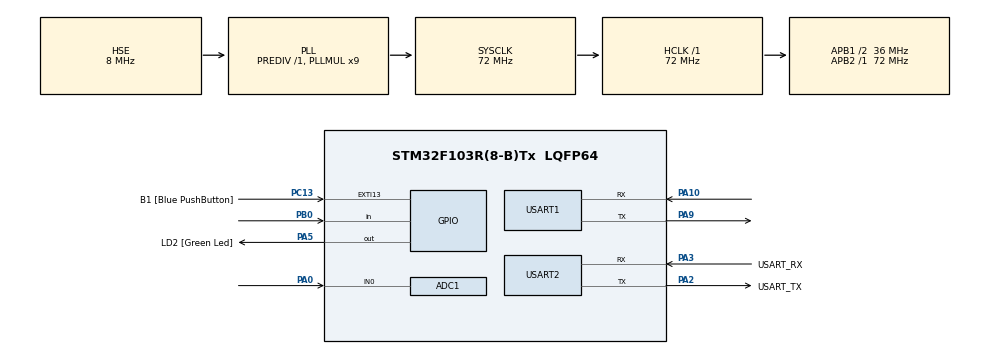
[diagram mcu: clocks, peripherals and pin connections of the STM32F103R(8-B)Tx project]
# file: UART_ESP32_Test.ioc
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ADC1.Channel-2\#ChannelRegularConversion=ADC_CHANNEL_0
ADC1.NbrOfConversion=1
ADC1.NbrOfConversionFlag=1
ADC1.Rank-2\#ChannelRegularConversion=1
ADC1.SamplingTime-2\#ChannelRegularConversion=ADC_SAMPLETIME_1CYCLE_5
ADC1.master=1
ADC2.Channel-1\#ChannelRegularConversion=ADC_CHANNEL_0
ADC2.NbrOfConversionFlag=1
ADC2.Rank-1\#ChannelRegularConversion=1
ADC2.SamplingTime-1\#ChannelRegularConversion=ADC_SAMPLETIME_1CYCLE_5
Mcu.Family=STM32F1
Mcu.Name=STM32F103R(8-B)Tx
Mcu.Package=LQFP64
NVIC.EXTI15_10_IRQn=true\:0\:0\:false\:false\:true\:true\:true\:true
NVIC.PriorityGroup=NVIC_PRIORITYGROUP_4
NVIC.USART1_IRQn=true\:0\:0\:false\:false\:true\:true\:true\:true
NVIC.USART2_IRQn=true\:0\:0\:false\:false\:true\:true\:true\:true
PA0-WKUP.Signal=ADCx_IN0
PA10.Mode=Asynchronous
PA10.Signal=USART1_RX
PA13.GPIO_Label=TMS
PA13.Mode=Serial_Wire
PA13.Signal=SYS_JTMS-SWDIO
PA14.GPIO_Label=TCK
PA14.Mode=Serial_Wire
PA14.Signal=SYS_JTCK-SWCLK
PA2.GPIO_Label=USART_TX
PA2.GPIO_Mode=GPIO_MODE_AF_PP
PA2.GPIO_PuPd=GPIO_NOPULL
PA2.GPIO_Speed=GPIO_SPEED_FREQ_LOW
PA2.Mode=Asynchronous
PA2.Signal=USART2_TX
PA3.GPIO_Label=USART_RX
PA3.GPIO_Mode=GPIO_MODE_AF_PP
PA3.GPIO_PuPd=GPIO_NOPULL
PA3.GPIO_Speed=GPIO_SPEED_FREQ_LOW
PA3.Mode=Asynchronous
PA3.Signal=USART2_RX
PA5.GPIO_Label=LD2 [Green Led]
PA5.GPIO_ModeDefaultOutputPP=GPIO_MODE_OUTPUT_PP
PA5.GPIO_PuPd=GPIO_NOPULL
PA5.GPIO_Speed=GPIO_SPEED_FREQ_LOW
PA5.Signal=GPIO_Output
PA9.Mode=Asynchronous
PA9.Signal=USART1_TX
PB0.Signal=GPIO_Input
PB3.GPIO_Label=SWO
PB3.Signal=SYS_JTDO-TRACESWO
PC13-TAMPER-RTC.GPIO_Label=B1 [Blue PushButton]
PC13-TAMPER-RTC.GPIO_PuPd=GPIO_NOPULL
PC13-TAMPER-RTC.Signal=GPXTI13
PC14-OSC32_IN.Mode=LSE-External-Oscillator
PC14-OSC32_IN.Signal=RCC_OSC32_IN
PC15-OSC32_OUT.Mode=LSE-External-Oscillator
PC15-OSC32_OUT.Signal=RCC_OSC32_OUT
PD0-OSC_IN.Mode=HSE-External-Clock-Source
PD0-OSC_IN.Signal=RCC_OSC_IN
PD1-OSC_OUT.Mode=HSE-External-Clock-Source
PD1-OSC_OUT.Signal=RCC_OSC_OUT
ProjectManager.HeapSize=0x200
ProjectManager.StackSize=0x400
ProjectManager.TargetToolchain=STM32CubeIDE
RCC.AHBFreq_Value=72000000
RCC.APB1CLKDivider=RCC_HCLK_DIV2
RCC.APB1Freq_Value=36000000
RCC.APB1TimFreq_Value=72000000
RCC.APB2Freq_Value=72000000
RCC.APB2TimFreq_Value=72000000
RCC.HCLKFreq_Value=72000000
RCC.PLLMUL=RCC_PLL_MUL9
RCC.PLLSourceVirtual=RCC_PLLSOURCE_HSE
RCC.RTCClockSelection=RCC_RTCCLKSOURCE_LSE
RCC.SYSCLKFreq_VALUE=72000000
RCC.SYSCLKSource=RCC_SYSCLKSOURCE_PLLCLK
RCC.USBFreq_Value=72000000
SH.ADCx_IN0.0=ADC1_IN0,IN0
SH.ADCx_IN0.1=ADC2_IN0,IN0
USART1.VirtualMode=VM_ASYNC
USART2.VirtualMode=VM_ASYNC
board=NUCLEO-F103RB

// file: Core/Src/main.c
/* USER CODE BEGIN Header */
/**
  ******************************************************************************
  * @file           : main.c
  * @brief          : Main program body
  ******************************************************************************
  * @attention
  *
  * Created for UART test between STM32F103RB and ESP32 (GPIO17/16)
  *
  ******************************************************************************
  */
/* USER CODE END Header */
#include "main.h"

/* USER CODE BEGIN Includes */
#include <string.h>
#include <stdio.h>
/* USER CODE END Includes */

ADC_HandleTypeDef hadc1;
ADC_HandleTypeDef hadc2;

UART_HandleTypeDef huart1;
UART_HandleTypeDef huart2;

/* USER CODE BEGIN PV */
extern UART_HandleTypeDef huart1;  // ESP32
extern UART_HandleTypeDef huart2;  // PC Log
extern ADC_HandleTypeDef hadc1;    // ADC1 (CubeMX가 선언함)

static uint8_t rx1;
static char line_buf[128];
static volatile uint16_t line_len = 0;
/* USER CODE END PV */

void SystemClock_Config(void);
static void MX_GPIO_Init(void);
static void MX_USART2_UART_Init(void);
static void MX_USART1_UART_Init(void);
static void MX_ADC1_Init(void);
static void MX_ADC2_Init(void);
/* USER CODE BEGIN PFP */
static void Uart1_RxStartIT(void);
static inline void DWT_Delay_Init(void);
static inline void delay_us(uint32_t us);
static void DHT_PinOutput(void);
static void DHT_PinInput(void);
static int  DHT11_Read(float *temp_c, float *rh);
static uint16_t ADC1_Read_PA0(void);
static uint16_t read_cds_avg(void);
/* USER CODE END PFP */

/* USER CODE BEGIN 0 */
// ---- UART1 Rx 인터럽트 재시작 ----
static void Uart1_RxStartIT(void) {
  HAL_UART_Receive_IT(&huart1, &rx1, 1);
}

// ---- μs Delay (DWT) ----
static inline void DWT_Delay_Init(void) {
  CoreDebug->DEMCR |= CoreDebug_DEMCR_TRCENA_Msk;
  DWT->CYCCNT = 0;
  DWT->CTRL  |= DWT_CTRL_CYCCNTENA_Msk;
}
static inline void delay_us(uint32_t us) {
  uint32_t cycles = (SystemCoreClock/1000000)*us;
  uint32_t start = DWT->CYCCNT;
  while ((DWT->CYCCNT - start) < cycles) { }
}

// ---- DHT11: PB0 사용 ----
#define DHT_PORT GPIOB
#define DHT_PIN  GPIO_PIN_0

static void DHT_PinOutput(void){
  GPIO_InitTypeDef GPIO_InitStruct = {0};
  GPIO_InitStruct.Pin   = DHT_PIN;
  GPIO_InitStruct.Mode  = GPIO_MODE_OUTPUT_PP;
  GPIO_InitStruct.Speed = GPIO_SPEED_FREQ_LOW;
  GPIO_InitStruct.Pull  = GPIO_NOPULL;
  HAL_GPIO_Init(DHT_PORT, &GPIO_InitStruct);
}
static void DHT_PinInput(void){
  GPIO_InitTypeDef GPIO_InitStruct = {0};
  GPIO_InitStruct.Pin  = DHT_PIN;
  GPIO_InitStruct.Mode = GPIO_MODE_INPUT;
  GPIO_InitStruct.Pull = GPIO_NOPULL; // 외부 풀업 사용
  HAL_GPIO_Init(DHT_PORT, &GPIO_InitStruct);
}

// 반환: 0=OK, 그 외=에러
static int DHT11_Read(float *temp_c, float *rh){
  uint8_t data[5] = {0};

  // Start signal
  DHT_PinOutput();
  HAL_GPIO_WritePin(DHT_PORT, DHT_PIN, GPIO_PIN_RESET);
  HAL_Delay(20); // 18~20ms
  HAL_GPIO_WritePin(DHT_PORT, DHT_PIN, GPIO_PIN_SET);
  delay_us(30);
  DHT_PinInput();

  // DHT 응답 Low(~80us)
  uint32_t t=0;
  while (HAL_GPIO_ReadPin(DHT_PORT, DHT_PIN)==GPIO_PIN_SET){ if(++t>10000) return -1; }
  // DHT 응답 High(~80us)
  t=0; while (HAL_GPIO_ReadPin(DHT_PORT, DHT_PIN)==GPIO_PIN_RESET){ if(++t>10000) return -2; }
  t=0; while (HAL_GPIO_ReadPin(DHT_PORT, DHT_PIN)==GPIO_PIN_SET)  { if(++t>10000) return -3; }

  // 40비트 수신 (delay 샘플링법)
  memset(data, 0, sizeof(data));
  for (int i=0;i<40;i++){
    // 50us Low
    t=0; while (HAL_GPIO_ReadPin(DHT_PORT, DHT_PIN)==GPIO_PIN_RESET){ if(++t>10000) return -4; }
    // 약 35us 후 레벨 샘플링
    delay_us(35);
    uint8_t bit = (HAL_GPIO_ReadPin(DHT_PORT, DHT_PIN)==GPIO_PIN_SET) ? 1 : 0;
    // High 떨어질 때까지 소비
    t=0; while (HAL_GPIO_ReadPin(DHT_PORT, DHT_PIN)==GPIO_PIN_SET){ if(++t>10000) break; }

    data[i/8] <<= 1;
    data[i/8] |= bit;
  }

  // 체크섬
  uint8_t sum = data[0]+data[1]+data[2]+data[3];
  if ((sum & 0xFF) != data[4]) return -7;

  *rh     = (float)data[0];  // DHT11은 정수부만 유효
  *temp_c = (float)data[2];
  return 0;
}

// ---- ADC(PA0 = ADC1_IN0) 읽기 ----
static uint16_t ADC1_Read_PA0(void){
  ADC_ChannelConfTypeDef sConfig = {0};
  sConfig.Channel      = ADC_CHANNEL_0; // PA0
  sConfig.Rank         = ADC_REGULAR_RANK_1;
  sConfig.SamplingTime = ADC_SAMPLETIME_239CYCLES_5;
  HAL_ADC_ConfigChannel(&hadc1, &sConfig);

  HAL_ADC_Start(&hadc1);
  HAL_ADC_PollForConversion(&hadc1, 10);
  uint16_t v = HAL_ADC_GetValue(&hadc1); // 0~4095
  HAL_ADC_Stop(&hadc1);
  return v;
}

// (옵션) 간단한 이동평균
static uint16_t read_cds_avg(void){
  uint32_t acc=0;
  for(int i=0;i<8;i++){ acc += ADC1_Read_PA0(); HAL_Delay(2); }
  return (uint16_t)(acc/8);
}

// ---- UART Rx 콜백 (네가 쓰던 라인버퍼 에코 유지) ----
void HAL_UART_RxCpltCallback(UART_HandleTypeDef *huart) {
  if (huart->Instance == USART1) {
    char c = (char)rx1;
    if (c == '\n' || c == '\r') {
      if (line_len > 0) {
        line_buf[line_len] = 0;
        const char *nl = "\r\n";
        const char *prefix = "RX:";
        HAL_UART_Transmit(&huart2, (uint8_t*)prefix, 3, HAL_MAX_DELAY);
        HAL_UART_Transmit(&huart2, (uint8_t*)line_buf, line_len, HAL_MAX_DELAY);
        HAL_UART_Transmit(&huart2, (uint8_t*)nl, 2, HAL_MAX_DELAY);

        const char *echo = "ECHO:";
        HAL_UART_Transmit(&huart1, (uint8_t*)echo, 5, HAL_MAX_DELAY);
        HAL_UART_Transmit(&huart1, (uint8_t*)line_buf, line_len, HAL_MAX_DELAY);
        HAL_UART_Transmit(&huart1, (uint8_t*)"\n", 1, HAL_MAX_DELAY);

        line_len = 0;
      }
    } else {
      if (line_len < sizeof(line_buf) - 1) line_buf[line_len++] = c;
      else line_len = 0;
    }
    Uart1_RxStartIT();
  }
}

/* USER CODE END 0 */

int main(void)
{

  /* MCU Configuration--------------------------------------------------------*/

  /* Reset of all peripherals, Initializes the Flash interface and the Systick. */
  HAL_Init();

  /* Configure the system clock */
  SystemClock_Config();

  /* Initialize all configured peripherals */
  MX_GPIO_Init();
  MX_USART2_UART_Init();
  MX_USART1_UART_Init();
  MX_ADC1_Init();
  MX_ADC2_Init();
  /* USER CODE BEGIN 2 */
  // ADC 보정 (F1 지원), μs 딜레이, 부팅 로그, UART1 수신 시작
  HAL_ADCEx_Calibration_Start(&hadc1);
  DWT_Delay_Init();

  const char *boot = "STM32 UART+Sensor ready\r\n";
  HAL_UART_Transmit(&huart2, (uint8_t*)boot, strlen(boot), HAL_MAX_DELAY);

  DHT_PinInput();     // 기본은 입력
  Uart1_RxStartIT();  // UART1 인터럽트 수신 시작
  /* USER CODE END 2 */

  /* Infinite loop */
  while (1)
  {
	  static uint32_t last = 0;
	  if (HAL_GetTick() - last >= 1000) {
	    last = HAL_GetTick();

	    float tC=0, RH=0;
	    int r = DHT11_Read(&tC, &RH);

	    // CDS 읽기 (평균 사용)
	    uint16_t adc = read_cds_avg(); // 또는 ADC1_Read_PA0();

	    char out[128];
	    int n=0;
	    if (r==0) {
	      n = snprintf(out, sizeof(out),
	        "{\"temp_c\":%.1f,\"rh_pct\":%.1f,\"cds_raw\":%u}\n", tC, RH, adc);
	    } else {
	      n = snprintf(out, sizeof(out),
	        "{\"temp_c\":-1,\"rh_pct\":-1,\"cds_raw\":%u,\"err\":%d}\n", adc, r);
	    }
	    HAL_UART_Transmit(&huart1, (uint8_t*)out, n, HAL_MAX_DELAY); // → ESP32
	    HAL_UART_Transmit(&huart2, (uint8_t*)out, n, HAL_MAX_DELAY); // PC 로그
	  }

  }
}

void SystemClock_Config(void)
{
  RCC_OscInitTypeDef RCC_OscInitStruct = {0};
  RCC_ClkInitTypeDef RCC_ClkInitStruct = {0};
  RCC_PeriphCLKInitTypeDef PeriphClkInit = {0};

  /** Initializes the RCC Oscillators according to the specified parameters
  * in the RCC_OscInitTypeDef structure.
  */
  RCC_OscInitStruct.OscillatorType = RCC_OSCILLATORTYPE_HSE;
  RCC_OscInitStruct.HSEState = RCC_HSE_BYPASS;
  RCC_OscInitStruct.HSEPredivValue = RCC_HSE_PREDIV_DIV1;
  RCC_OscInitStruct.HSIState = RCC_HSI_ON;
  RCC_OscInitStruct.PLL.PLLState = RCC_PLL_ON;
  RCC_OscInitStruct.PLL.PLLSource = RCC_PLLSOURCE_HSE;
  RCC_OscInitStruct.PLL.PLLMUL = RCC_PLL_MUL9;
  if (HAL_RCC_OscConfig(&RCC_OscInitStruct) != HAL_OK)
  {
    Error_Handler();
  }

  /** Initializes the CPU, AHB and APB buses clocks
  */
  RCC_ClkInitStruct.ClockType = RCC_CLOCKTYPE_HCLK|RCC_CLOCKTYPE_SYSCLK
                              |RCC_CLOCKTYPE_PCLK1|RCC_CLOCKTYPE_PCLK2;
  RCC_ClkInitStruct.SYSCLKSource = RCC_SYSCLKSOURCE_PLLCLK;
  RCC_ClkInitStruct.AHBCLKDivider = RCC_SYSCLK_DIV1;
  RCC_ClkInitStruct.APB1CLKDivider = RCC_HCLK_DIV2;
  RCC_ClkInitStruct.APB2CLKDivider = RCC_HCLK_DIV1;

  if (HAL_RCC_ClockConfig(&RCC_ClkInitStruct, FLASH_LATENCY_2) != HAL_OK)
  {
    Error_Handler();
  }
  PeriphClkInit.PeriphClockSelection = RCC_PERIPHCLK_ADC;
  PeriphClkInit.AdcClockSelection = RCC_ADCPCLK2_DIV2;
  if (HAL_RCCEx_PeriphCLKConfig(&PeriphClkInit) != HAL_OK)
  {
    Error_Handler();
  }
}

static void MX_ADC1_Init(void)
{

  ADC_ChannelConfTypeDef sConfig = {0};

  /** Common config
  */
  hadc1.Instance = ADC1;
  hadc1.Init.ScanConvMode = ADC_SCAN_DISABLE;
  hadc1.Init.ContinuousConvMode = DISABLE;
  hadc1.Init.DiscontinuousConvMode = DISABLE;
  hadc1.Init.ExternalTrigConv = ADC_SOFTWARE_START;
  hadc1.Init.DataAlign = ADC_DATAALIGN_RIGHT;
  hadc1.Init.NbrOfConversion = 1;
  if (HAL_ADC_Init(&hadc1) != HAL_OK)
  {
    Error_Handler();
  }

  /** Configure Regular Channel
  */
  sConfig.Channel = ADC_CHANNEL_0;
  sConfig.Rank = ADC_REGULAR_RANK_1;
  sConfig.SamplingTime = ADC_SAMPLETIME_1CYCLE_5;
  if (HAL_ADC_ConfigChannel(&hadc1, &sConfig) != HAL_OK)
  {
    Error_Handler();
  }

}

static void MX_ADC2_Init(void)
{

  ADC_ChannelConfTypeDef sConfig = {0};

  /** Common config
  */
  hadc2.Instance = ADC2;
  hadc2.Init.ScanConvMode = ADC_SCAN_DISABLE;
  hadc2.Init.ContinuousConvMode = DISABLE;
  hadc2.Init.DiscontinuousConvMode = DISABLE;
  hadc2.Init.ExternalTrigConv = ADC_SOFTWARE_START;
  hadc2.Init.DataAlign = ADC_DATAALIGN_RIGHT;
  hadc2.Init.NbrOfConversion = 1;
  if (HAL_ADC_Init(&hadc2) != HAL_OK)
  {
    Error_Handler();
  }

  /** Configure Regular Channel
  */
  sConfig.Channel = ADC_CHANNEL_0;
  sConfig.Rank = ADC_REGULAR_RANK_1;
  sConfig.SamplingTime = ADC_SAMPLETIME_1CYCLE_5;
  if (HAL_ADC_ConfigChannel(&hadc2, &sConfig) != HAL_OK)
  {
    Error_Handler();
  }

}

static void MX_USART1_UART_Init(void)
{

  huart1.Instance = USART1;
  huart1.Init.BaudRate = 115200;
  huart1.Init.WordLength = UART_WORDLENGTH_8B;
  huart1.Init.StopBits = UART_STOPBITS_1;
  huart1.Init.Parity = UART_PARITY_NONE;
  huart1.Init.Mode = UART_MODE_TX_RX;
  huart1.Init.HwFlowCtl = UART_HWCONTROL_NONE;
  huart1.Init.OverSampling = UART_OVERSAMPLING_16;
  if (HAL_UART_Init(&huart1) != HAL_OK)
  {
    Error_Handler();
  }

}

static void MX_USART2_UART_Init(void)
{

  huart2.Instance = USART2;
  huart2.Init.BaudRate = 115200;
  huart2.Init.WordLength = UART_WORDLENGTH_8B;
  huart2.Init.StopBits = UART_STOPBITS_1;
  huart2.Init.Parity = UART_PARITY_NONE;
  huart2.Init.Mode = UART_MODE_TX_RX;
  huart2.Init.HwFlowCtl = UART_HWCONTROL_NONE;
  huart2.Init.OverSampling = UART_OVERSAMPLING_16;
  if (HAL_UART_Init(&huart2) != HAL_OK)
  {
    Error_Handler();
  }

}

static void MX_GPIO_Init(void)
{
  GPIO_InitTypeDef GPIO_InitStruct = {0};

  /* GPIO Ports Clock Enable */
  __HAL_RCC_GPIOC_CLK_ENABLE();
  __HAL_RCC_GPIOD_CLK_ENABLE();
  __HAL_RCC_GPIOA_CLK_ENABLE();
  __HAL_RCC_GPIOB_CLK_ENABLE();

  /*Configure GPIO pin Output Level */
  HAL_GPIO_WritePin(LD2_GPIO_Port, LD2_Pin, GPIO_PIN_RESET);

  /*Configure GPIO pin : B1_Pin */
  GPIO_InitStruct.Pin = B1_Pin;
  GPIO_InitStruct.Mode = GPIO_MODE_IT_RISING;
  GPIO_InitStruct.Pull = GPIO_NOPULL;
  HAL_GPIO_Init(B1_GPIO_Port, &GPIO_InitStruct);

  /*Configure GPIO pin : LD2_Pin */
  GPIO_InitStruct.Pin = LD2_Pin;
  GPIO_InitStruct.Mode = GPIO_MODE_OUTPUT_PP;
  GPIO_InitStruct.Pull = GPIO_NOPULL;
  GPIO_InitStruct.Speed = GPIO_SPEED_FREQ_LOW;
  HAL_GPIO_Init(LD2_GPIO_Port, &GPIO_InitStruct);

  /*Configure GPIO pin : PB0 */
  GPIO_InitStruct.Pin = GPIO_PIN_0;
  GPIO_InitStruct.Mode = GPIO_MODE_INPUT;
  GPIO_InitStruct.Pull = GPIO_NOPULL;
  HAL_GPIO_Init(GPIOB, &GPIO_InitStruct);

  /* EXTI interrupt init*/
  HAL_NVIC_SetPriority(EXTI15_10_IRQn, 0, 0);
  HAL_NVIC_EnableIRQ(EXTI15_10_IRQn);

}

void Error_Handler(void)
{
  __disable_irq();
  while (1)
  {
  }
}
